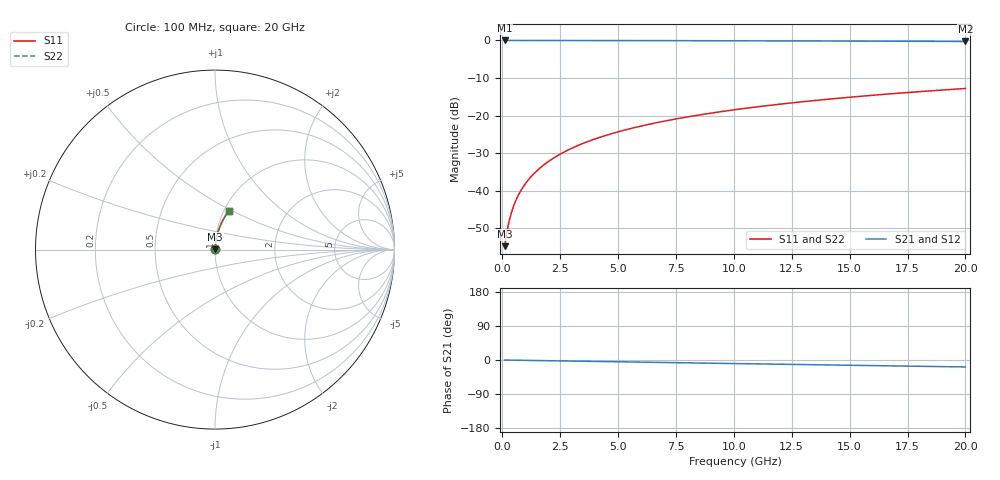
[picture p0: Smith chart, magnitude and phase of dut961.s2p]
! Touchstone file exported from HFSS 2026.1.0
!  File:  C:/ffzhzh/LocalFiles/Ansys_Project_Files/temp_train_TMRDL_961_1783158855_55132.aedt
!  Generated:  05:55:33 PM Jul  4, 2026
!  Design:  TMRDL
!  Project:  temp_train_TMRDL_961_1783158855_55132
! Variables:
!  h_bsmrdl = 2um
!  h_ox = 20um
!  h_rdl = 5um
!  h_sub = 80um
!  h_tmrdl = 4.63um
!  h_tsv = 80um
!  h_via = 3um
!  l_bsmrdl = 300um
!  l_sub = 594.39um
!  l_tmrdl = 194.39um
!  m_sub = 200um
!  pitch = 50.44um
!  r_tsv = 6um
!  s_tmrdl = 10um
!  w_bsmrdl = 18um
!  w_sub = 500um
!  w_tmrdl = 12.22um
!  x_tsv_center1 = 200.5um
!  x_tsv_center2 = 518.5um
!  x_tsv_center3 = 725.11um
!  x_tsv_center4 = 1043.11um
!  x_tsv_center5 = 1249.72um
!  x_tsv_center6 = 1567.72um
# GHz S MA R 50.000000
! Terminal data exported
! Port[1] = TM_RDL1_1_T1
! Port[2] = TM_RDL1_1_T2
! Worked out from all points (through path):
!   200 points, 100 MHz to 20 GHz, reference 50 ohm
!   highest |S21| = -0.01 dB at 100 MHz (marker M1); lowest = -0.3 dB at 20 GHz (marker M2)
!   group delay of S21, straight-line fit = 2.55 ps
!   lowest |S11| = -54.7 dB at 100 MHz (marker M3), VSWR 1.00, Z = 50.1 + j0.127 ohm
!   |S11| at or under -10 dB: start of sweep to end of sweep
!   |S22| runs from -54.7 to -12.8 dB; largest |S21 - S12| = 2.6e-15
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0.1  0.001839 43.6  0.9987 -0.1  0.9987 -0.1  0.001839 43.6
! Gamma 0 0 0 0
! Port Impedance 50 0 50 0
0.2  0.00287 61.7  0.9986 -0.2  0.9986 -0.2  0.00287 61.7
0.3  0.004021 69.6  0.9986 -0.3  0.9986 -0.3  0.004021 69.6
0.4  0.005206 73.9  0.9986 -0.4  0.9986 -0.4  0.005206 73.9
0.5  0.006404 76.6  0.9985 -0.5  0.9985 -0.5  0.006404 76.6
0.6  0.007609 78.4  0.9985 -0.6  0.9985 -0.6  0.007609 78.4
0.8  0.01003 80.7  0.9985 -0.8  0.9985 -0.8  0.01003 80.7
1.1  0.01368 82.5  0.9984 -1.1  0.9984 -1.1  0.01368 82.5
1.5  0.01857 83.6  0.9982 -1.4  0.9982 -1.4  0.01857 83.6
1.8  0.02223 84.0  0.9981 -1.7  0.9981 -1.7  0.02223 84.0
2.1  0.02589 84.2  0.998 -2.0  0.998 -2.0  0.02589 84.2
2.7  0.0332 84.2  0.9976 -2.6  0.9976 -2.6  0.0332 84.2
3.5  0.04289 83.9  0.997 -3.3  0.997 -3.3  0.04289 83.9
4.2  0.05132 83.5  0.9964 -4.0  0.9964 -4.0  0.05132 83.5
5  0.06089 82.9  0.9957 -4.8  0.9957 -4.8  0.06089 82.9
5.9  0.07158 82.2  0.9947 -5.6  0.9947 -5.6  0.07158 82.2
6.8  0.08219 81.5  0.9936 -6.4  0.9936 -6.4  0.08219 81.5
8.3  0.09972 80.2  0.9916 -7.8  0.9916 -7.8  0.09972 80.2
10.1  0.1205 78.7  0.9889 -9.5  0.9889 -9.5  0.1205 78.7
13.4  0.1579 75.9  0.983 -12.5  0.983 -12.5  0.1579 75.9
16.7  0.1943 73.1  0.976 -15.4  0.976 -15.4  0.1943 73.1
20  0.2295 70.3  0.968 -18.4  0.968 -18.4  0.2295 70.3
